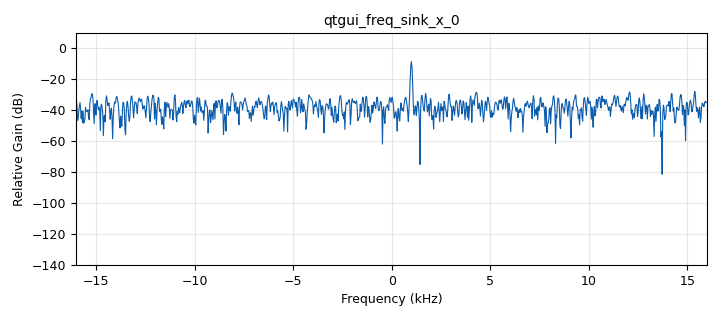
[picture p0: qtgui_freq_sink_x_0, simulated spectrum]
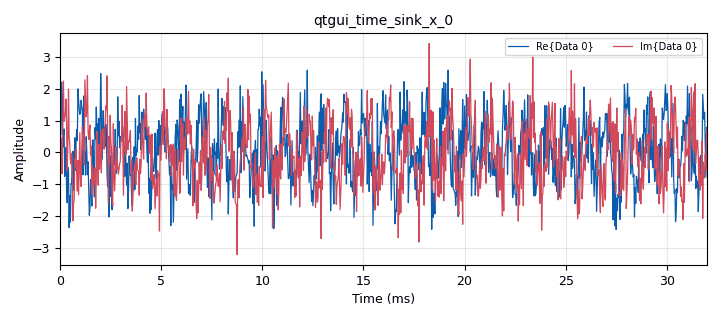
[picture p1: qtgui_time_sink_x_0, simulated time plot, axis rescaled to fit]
options:
  parameters:
    author: labcom
    generate_options: qt_gui
    id: lab_1_b
    output_language: python
    title: Not titled yet
  states: {}

blocks:
- name: samp_rate
  id: variable
  parameters:
    value: '32000'
  states: {}
- name: analog_noise_source_x_0
  id: analog_noise_source_x
  parameters:
    amp: '1'
    noise_type: analog.GR_GAUSSIAN
    seed: '0'
    type: complex
  states: {}
- name: analog_sig_source_x_0
  id: analog_sig_source_x
  parameters:
    amp: '1'
    freq: '1000'
    offset: '0'
    phase: '0'
    samp_rate: samp_rate
    type: complex
    waveform: analog.GR_COS_WAVE
  states: {}
- name: blocks_add_xx_0
  id: blocks_add_xx
  parameters:
    type: complex
  states: {}
- name: blocks_throttle_0
  id: blocks_throttle
  parameters:
    samples_per_second: samp_rate
    type: complex
  states: {}
- name: qtgui_freq_sink_x_0
  id: qtgui_freq_sink_x
  parameters:
    bw: samp_rate
    fc: '0'
    fftsize: '1024'
    type: complex
  states: {}
- name: qtgui_time_sink_x_0
  id: qtgui_time_sink_x
  parameters:
    size: '1024'
    srate: samp_rate
    type: complex
  states: {}
- name: uhd_usrp_sink_0
  id: uhd_usrp_sink
  parameters:
    ant0: '"TX/RX"'
    center_freq0: '0'
    gain0: '0'
    samp_rate: samp_rate
    sync: sync
    type: fc32
  states: {}

connections:
- [analog_noise_source_x_0, '0', blocks_add_xx_0, '0']
- [analog_sig_source_x_0, '0', blocks_add_xx_0, '1']
- [blocks_add_xx_0, '0', blocks_throttle_0, '0']
- [blocks_throttle_0, '0', qtgui_freq_sink_x_0, '0']
- [blocks_throttle_0, '0', qtgui_time_sink_x_0, '0']
- [blocks_throttle_0, '0', uhd_usrp_sink_0, '0']

metadata:
  file_format: 1
  grc_version: 3.10.2.0
